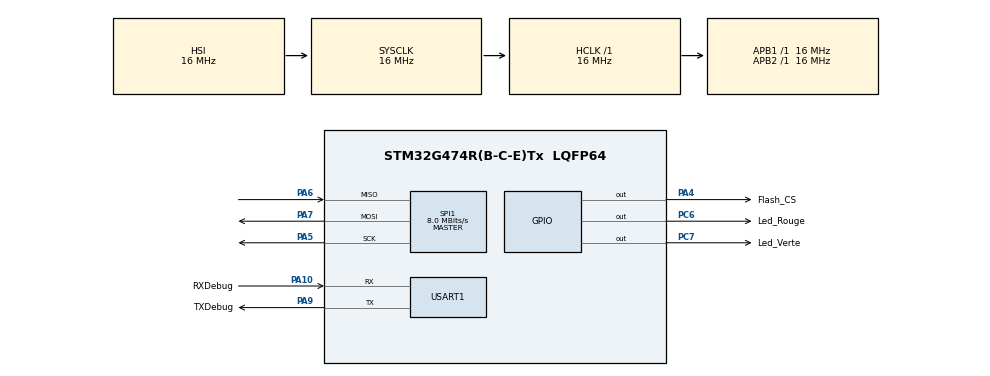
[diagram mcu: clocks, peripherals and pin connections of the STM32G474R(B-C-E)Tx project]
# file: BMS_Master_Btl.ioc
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CRC.InputDataInversionMode=CRC_INPUTDATA_INVERSION_BYTE
CRC.OutputDataInversionMode=CRC_OUTPUTDATA_INVERSION_ENABLE
Mcu.Family=STM32G4
Mcu.Name=STM32G474R(B-C-E)Tx
Mcu.Package=LQFP64
NVIC.PriorityGroup=NVIC_PRIORITYGROUP_4
PA10.GPIO_Label=RXDebug
PA10.Mode=Asynchronous
PA10.Signal=USART1_RX
PA13.Mode=Serial_Wire
PA13.Signal=SYS_JTMS-SWDIO
PA14.Mode=Serial_Wire
PA14.Signal=SYS_JTCK-SWCLK
PA4.GPIO_Label=Flash_CS
PA4.PinState=GPIO_PIN_SET
PA4.Signal=GPIO_Output
PA5.Mode=Full_Duplex_Master
PA5.Signal=SPI1_SCK
PA6.Mode=Full_Duplex_Master
PA6.Signal=SPI1_MISO
PA7.Mode=Full_Duplex_Master
PA7.Signal=SPI1_MOSI
PA9.GPIO_Label=TXDebug
PA9.Mode=Asynchronous
PA9.Signal=USART1_TX
PC6.GPIO_Label=Led_Rouge
PC6.Signal=GPIO_Output
PC7.GPIO_Label=Led_Verte
PC7.Signal=GPIO_Output
PF0-OSC_IN.Mode=HSE-External-Oscillator
PF0-OSC_IN.Signal=RCC_OSC_IN
PF1-OSC_OUT.Mode=HSE-External-Oscillator
PF1-OSC_OUT.Signal=RCC_OSC_OUT
ProjectManager.HeapSize=0x200
ProjectManager.StackSize=0x400
ProjectManager.TargetToolchain=STM32CubeIDE
RCC.ADC12Freq_Value=16000000
RCC.ADC345Freq_Value=16000000
RCC.AHBFreq_Value=16000000
RCC.APB1Freq_Value=16000000
RCC.APB1TimFreq_Value=16000000
RCC.APB2Freq_Value=16000000
RCC.APB2TimFreq_Value=16000000
RCC.CortexFreq_Value=16000000
RCC.EXTERNAL_CLOCK_VALUE=12288000
RCC.FDCANCLockSelection=RCC_FDCANCLKSOURCE_HSE
RCC.HCLKFreq_Value=16000000
RCC.HSE_VALUE=8000000
RCC.HSI48_VALUE=48000000
RCC.HSI_VALUE=16000000
RCC.LSE_VALUE=32768
RCC.PLLM=RCC_PLLM_DIV2
RCC.PLLN=85
RCC.PLLSourceVirtual=RCC_PLLSOURCE_HSE
RCC.SYSCLKFreq_VALUE=16000000
RCC.USBFreq_Value=170000000
RCC.VCOOutputFreq_Value=340000000
SPI1.BaudRatePrescaler=SPI_BAUDRATEPRESCALER_2
SPI1.CalculateBaudRate=8.0 MBits/s
SPI1.DataSize=SPI_DATASIZE_8BIT
SPI1.Direction=SPI_DIRECTION_2LINES
SPI1.Mode=SPI_MODE_MASTER
SPI1.VirtualType=VM_MASTER
USART1.VirtualMode-Asynchronous=VM_ASYNC
VP_CRC_VS_CRC.Mode=CRC_Activate
VP_SYS_VS_DBSignals.Mode=DisableDeadBatterySignals
board=custom

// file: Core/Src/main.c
/* USER CODE BEGIN Header */
/**
  ******************************************************************************
  * @file           : main.c
  * @brief          : Main program body
  ******************************************************************************
  * @attention
  *
  * Copyright (c) 2023 STMicroelectronics.
  * All rights reserved.
  *
  * This software is licensed under terms that can be found in the LICENSE file
  * in the root directory of this software component.
  * If no LICENSE file comes with this software, it is provided AS-IS.
  *
  ******************************************************************************
  */
/* USER CODE END Header */
#include "main.h"
#include "crc.h"
#include "spi.h"
#include "usart.h"
#include "gpio.h"

/* USER CODE BEGIN Includes */
#include "Flash/Flash.h"
#include "UpDate/UpDate.h"
/* USER CODE END Includes */

/* USER CODE BEGIN PD */

/* Verbose mode
 * 0: only important informations are displayed
 * 1: error details are displayed
 * 2: info details are displayed
 */
#define VERBOSE_MODE			1

#define FLASH_START_ADDRESS					      0x08000000			//! location of CPU flash bank.

#define ADDR_NewFirmwareBinary            (ADDR_NewFirmwareHeader + sizeof(UpDateFileHeader_t))

/* USER CODE END PD */

/* USER CODE BEGIN PV */

// main app start address defined in linker file
extern uint32_t _main_app_start_address;
extern uint32_t _firmware_length;

uint32_t u32_MemoryAddr = (uint32_t)&_main_app_start_address;
uint32_t u32_FirmwareSizeMax = (uint32_t)&_firmware_length;

uint32_t u32_BootLoader_Version = 0x00000001;

__attribute__((section(".btl_ram.BOOT_VERSION")))				volatile uint32_t u32_BootVersion;
__attribute__((section(".btl_ram.BOOT_MODE")))				  volatile uint32_t u32_BootMode;
__attribute__((section(".btl_ram.BOOT_HARDFAULT_PC")))	volatile uint32_t u32_HardFault_PC;
__attribute__((section(".btl_ram.BOOT_HARDFAULT_LR")))	volatile uint32_t u32_HardFault_LR;

uint32_t ADDR_NewFirmwareHeader = FlashAddrOfNewFirmware;
/* USER CODE END PV */

void SystemClock_Config(void);
/* USER CODE BEGIN PFP */

static uint32_t GetPage(uint32_t Address);
static uint32_t GetBank(uint32_t Address);
__STATIC_INLINE void config(void);

/* USER CODE END PFP */

/* USER CODE BEGIN 0 */

/**
* Jump to application
*/
void JumptoApp(void)
{
  // disable global interrupt
  __disable_irq();

  RCC->CICR = 0;

  // Disable all peripheral interrupts
  NVIC->ICER[0U] = 0xFFFFFFFF;

  SysTick->CTRL = 0;
  SysTick->LOAD = 0;
  SysTick->VAL = 0;

  // disable peripherals
  USART1->CR1 &= ~USART_CR1_UE;
  __HAL_RCC_USART1_CLK_DISABLE();

  SPI2->CR1 &= ~SPI_CR1_SPE;
  __HAL_RCC_SPI2_CLK_DISABLE();

  __HAL_RCC_APB1_FORCE_RESET();
  __HAL_RCC_APB1_RELEASE_RESET();

  __HAL_RCC_APB2_FORCE_RESET();
  __HAL_RCC_APB2_RELEASE_RESET();

  uint32_t* pMem = (uint32_t*)u32_MemoryAddr;

  // First address is the stack pointer initial value
  __set_MSP(*pMem); // Set stack pointer

                    // Now get main app entry point address
  pMem++;
  void(*pMainApp)(void) = (void(*)(void))(*pMem);

  // Jump to main application (0x0800 0004)
  pMainApp();
}

/**
  * @brief  Gets the page of a given address
  * @param  Addr: Address of the FLASH Memory
  * @retval The page of a given address
  */
static uint32_t GetPage(uint32_t Addr)
{
  uint32_t page = 0;

  if (Addr < (FLASH_BASE + FLASH_BANK_SIZE))
  {
    /* Bank 1 */
    page = (Addr - FLASH_BASE) / FLASH_PAGE_SIZE;
  }
  else
  {
    /* Bank 2 */
    page = (Addr - (FLASH_BASE + FLASH_BANK_SIZE)) / FLASH_PAGE_SIZE;
  }

  return page;
}

/**
  * @brief  Gets the bank of a given address
  * @param  Addr: Address of the FLASH Memory
  * @retval The bank of a given address
  */
static uint32_t GetBank(uint32_t Addr)
{
  if (Addr < (FLASH_BASE + FLASH_BANK_SIZE))
    return FLASH_BANK_1;
  else
    return FLASH_BANK_2;
}

/* USER CODE END 0 */

int main(void)
{
  /* USER CODE BEGIN 1 */

  uint32_t i;
  uint32_t u32_address;
  uint64_t u64_data;
  uint8_t au8_Data[4];

  uint32_t FirstPage = 0, NbOfPages = 0, BankNumber = 0;
  uint32_t PageError = 0;

  UpDateFileHeader_t oUpDateFileHeader = { 0 };

  /*Variable used for Erase procedure*/
  static FLASH_EraseInitTypeDef EraseInitStruct;

  // only to reserve data address
  __ASM __volatile__("" :: "m" (u32_BootVersion));
  __ASM __volatile__("" :: "m" (u32_BootMode));
  __ASM __volatile__("" :: "m" (u32_HardFault_PC));
  __ASM __volatile__("" :: "m" (u32_HardFault_LR));

  // update the version of local bootloader
  u32_BootVersion = u32_BootLoader_Version;

#if 0
  /* USER CODE END 1 */

  /* MCU Configuration--------------------------------------------------------*/

  /* Reset of all peripherals, Initializes the Flash interface and the Systick. */
  HAL_Init();

  /* Configure the system clock */
  SystemClock_Config();

  /* Initialize all configured peripherals */
  MX_GPIO_Init();
  MX_CRC_Init();
  MX_USART1_UART_Init();
  MX_SPI1_Init();
  /* USER CODE BEGIN 2 */
#endif

  config();
  gpio_init();
  crc_init();
  usart_init();
  spi_init();

  LED_R_ON;
  HAL_Delay(100);
  LED_R_OFF;
  LED_G_ON;
  HAL_Delay(100);
  LED_G_OFF;
  _UART1_print("BootLoader V");
  _UART1_print_hex32(u32_BootLoader_Version);
  _UART1_print("\r\n");
  /* USER CODE END 2 */

  /* Infinite loop */
  /* USER CODE BEGIN WHILE */
  while (1)
  {
    if (u32_BootMode == BOOT_MODE_UPDATE_TO_DO)
	  {
	    // Read Length and CheckSum from External Flash memory
      FlashRead(ADDR_NewFirmwareHeader, (uint8_t*)&oUpDateFileHeader, sizeof(UpDateFileHeader_t));

      // an update must be done
      if ((oUpDateFileHeader.u32_ValidityKey == UpDateFileValidityKey) &&
        ((oUpDateFileHeader.u32_BinaryFileSize != 0) && (oUpDateFileHeader.u32_BinaryFileSize != 0xFFFFFFFF)))
      {
        _UART1_print("Updating\r\n");
        // Si taille MAJ differente de 0 on fait la MAJ
        if (oUpDateFileHeader.u32_BinaryFileSize != 0)
        {
          if (oUpDateFileHeader.u32_BinaryFileSize < u32_FirmwareSizeMax)
          {
            // reset CRC calculation
            CRC->CR |= CRC_CR_RESET;
            for (i = ADDR_NewFirmwareBinary; i < (ADDR_NewFirmwareBinary + oUpDateFileHeader.u32_BinaryFileSize); i += 4)
            {
              FlashRead(i, (uint8_t*)&au8_Data, 4);
              CRC->DR = ((uint32_t)au8_Data[0] << 24U) | ((uint32_t)au8_Data[1U] << 16U) | ((uint32_t)au8_Data[2U] << 8U) | (uint32_t)au8_Data[3U];
            }
            uint32_t u32_Crc = (CRC->DR ^ 0xffffffffL);
            if (u32_Crc != oUpDateFileHeader.u32_BinaryFileCRC32)
            {
              LED_R_ON;
              u32_BootMode = BOOT_MODE_ERROR_CRC;
              _UART1_print("/!\\Bad CRC\r\n");
  #if (VERBOSE_MODE > 0)
              _UART1_print("Expect ");
              _UART1_print_hex32(oUpDateFileHeader.u32_BinaryFileCRC32);
              _UART1_print(" Compute ");
              _UART1_print_hex32(u32_Crc);
              _UART1_print("\r\n");
  #endif
            }
          }
          else
          {
            LED_R_ON;
            u32_BootMode = BOOT_MODE_ERROR_SIZE;
            _UART1_print("/!\\Firm size over\r\n");
          }
        }
        else
          u32_BootMode = BOOT_MODE_ERROR_NULL;

        if ((u32_BootMode & 0xFF000000) != BOOT_MODE_ERROR_NULL) // MAJ
        {
          // unlock CPU flash
          // HAL_FLASH_Unlock();
          if (READ_BIT(FLASH->CR, FLASH_CR_LOCK) != 0U)
          {
            /* Authorize the FLASH Registers access */
            WRITE_REG(FLASH->KEYR, FLASH_KEY1);
            WRITE_REG(FLASH->KEYR, FLASH_KEY2);

            /* verify Flash is unlocked */
            if (READ_BIT(FLASH->CR, FLASH_CR_LOCK) != 0U)
            {
              u32_BootMode = BOOT_MODE_ERROR_FLASH_LOCK;
              _UART1_print("/!\\Unlock Fail\r\n");
            }
          }

          if ((u32_BootMode & 0xFF000000) != BOOT_MODE_ERROR_NULL)
          {
            // Effacement de toute la memoire d'application
  #if (VERBOSE_MODE > 1)
            _UART1_print("Erase\r\n");
  #endif
            /* Clear OPTVERR bit set on virgin samples */
            __HAL_FLASH_CLEAR_FLAG(FLASH_FLAG_OPTVERR);

            /* Erase the user Flash area
              (area defined by FLASH_USER_START_ADDR and FLASH_USER_END_ADDR) ***********/

            // check if erase is only in first page or also on second page
            uint32_t u32_Size2Erase = FLASH_BANK_SIZE;

            /* Get the 1st page to erase */
            FirstPage = GetPage(u32_MemoryAddr);
            /* Get the number of pages to erase from 1st page */
            if ((u32_MemoryAddr + oUpDateFileHeader.u32_BinaryFileSize) >= FLASH_BANK_SIZE)
              u32_Size2Erase = FLASH_BANK_SIZE - (u32_MemoryAddr - FLASH_BASE) - 1;
            else
              u32_Size2Erase = oUpDateFileHeader.u32_BinaryFileSize;
            NbOfPages = GetPage((u32_MemoryAddr + u32_Size2Erase)) - FirstPage + 1;
            /* Get the bank */
            BankNumber = GetBank(u32_MemoryAddr);
            /* Fill EraseInit structure*/
            EraseInitStruct.TypeErase = FLASH_TYPEERASE_PAGES;
            EraseInitStruct.Banks = BankNumber;
            EraseInitStruct.Page = FirstPage;
            EraseInitStruct.NbPages = NbOfPages;
            if (HAL_FLASHEx_Erase(&EraseInitStruct, &PageError) != HAL_OK)
            {
              LED_R_ON;
              _UART1_print("/!\\Erase fail\r\n");
              u32_BootMode = BOOT_MODE_ERROR_BLANK;
            }
            else
            {
              // Need to erase an other block
              if ((u32_MemoryAddr + oUpDateFileHeader.u32_BinaryFileSize) >= FLASH_BANK_SIZE)
              {
                /* Get the 1st page to erase */
                FirstPage = GetPage((FLASH_BASE + FLASH_BANK_SIZE));
                /* Get the number of pages to erase from 1st page */
                NbOfPages = GetPage((u32_MemoryAddr + oUpDateFileHeader.u32_BinaryFileSize)) - FirstPage + 1;
                /* Get the bank */
                BankNumber = FLASH_BANK_2;
                /* Fill EraseInit structure*/
                EraseInitStruct.TypeErase = FLASH_TYPEERASE_PAGES;
                EraseInitStruct.Banks = BankNumber;
                EraseInitStruct.Page = FirstPage;
                EraseInitStruct.NbPages = NbOfPages;
                if (HAL_FLASHEx_Erase(&EraseInitStruct, &PageError) != HAL_OK)
                {
                  LED_R_ON;
                  _UART1_print("/!\\Erase fail\r\n");
                  u32_BootMode = BOOT_MODE_ERROR_BLANK;
                }
              }

              if ((u32_BootMode & 0xFF000000) != BOOT_MODE_ERROR_NULL)
              {
                // verification effacement
  #if (VERBOSE_MODE > 1)
  //					_UART1_print("Blank check\r\n");
  #endif
                for (u32_address = u32_MemoryAddr; u32_address <= (u32_MemoryAddr + oUpDateFileHeader.u32_BinaryFileSize); u32_address++)
                {
                  if (*(uint8_t*)u32_address != 0xFF)
                  {
                    LED_R_ON;
                    _UART1_print("/!\\Blank fail\r\n");
  #if (VERBOSE_MODE > 0)
                    _UART1_print("At @");
                    _UART1_print_hex32(u32_address);
                    _UART1_print("\r\n");
  #endif
                    u32_BootMode = BOOT_MODE_ERROR_BLANK;
                    break;
                  }
                }
              }

              if ((u32_BootMode & 0xFF000000) != BOOT_MODE_ERROR_NULL)
              {
                _UART1_print("Write & verify\r\n");
                for (u32_address = 0; u32_address < oUpDateFileHeader.u32_BinaryFileSize; u32_address += 8)
                {
                  FlashRead((ADDR_NewFirmwareBinary + u32_address), (uint8_t*)&u64_data, 8);
                  // programmation
                  HAL_FLASH_Program(FLASH_TYPEPROGRAM_DOUBLEWORD, (u32_MemoryAddr + u32_address), u64_data);
                  // verification
                  if (*(uint64_t*)(u32_MemoryAddr + u32_address) != u64_data)
                  {
                    LED_R_ON;
                    u32_BootMode = BOOT_MODE_ERROR_VERIFY;
                    _UART1_print("/!\\Verif fail\r\n");
  #if (VERBOSE_MODE > 0)
                    _UART1_print("@");
                    _UART1_print_hex32((uint32_t)(u32_MemoryAddr + u32_address));
                    _UART1_print(" => ");	// Expected
                    _UART1_print_hex32((u64_data & 0xFFFFFFFF00000000) >> 32);
                    _UART1_print_hex32(u64_data & 0x00000000FFFFFFFF);
                    _UART1_print(" | ");	// Read
                    _UART1_print_hex32((*(uint64_t*)(u32_MemoryAddr + u32_address) & 0xFFFFFFFF00000000) >> 32);
                    _UART1_print_hex32((*(uint64_t*)(u32_MemoryAddr + u32_address) & 0x00000000FFFFFFFF));
                    _UART1_print("\r\n");
  #endif
                    break;
                  }
                }

                if ((u32_BootMode & 0xFF000000) != BOOT_MODE_ERROR_NULL)
                  u32_BootMode = 0;
              }
            }

            // Lock flash
            /* Set the LOCK Bit to lock the FLASH Registers access */
            SET_BIT(FLASH->CR, FLASH_CR_LOCK);
          }
        }
      }
	  }

    if ((u32_BootMode & 0xFF000000) != BOOT_MODE_ERROR_NULL)
      LED_R_OFF;
    _UART1_print("Start App\r\n");
    HAL_Delay(100);
    u32_BootVersion = u32_BootLoader_Version;
    JumptoApp();

    /* USER CODE END WHILE */

  }
}

void SystemClock_Config(void)
{
  RCC_OscInitTypeDef RCC_OscInitStruct = {0};
  RCC_ClkInitTypeDef RCC_ClkInitStruct = {0};

  /** Configure the main internal regulator output voltage
  */
  HAL_PWREx_ControlVoltageScaling(PWR_REGULATOR_VOLTAGE_SCALE1);

  /** Initializes the RCC Oscillators according to the specified parameters
  * in the RCC_OscInitTypeDef structure.
  */
  RCC_OscInitStruct.OscillatorType = RCC_OSCILLATORTYPE_HSI;
  RCC_OscInitStruct.HSIState = RCC_HSI_ON;
  RCC_OscInitStruct.HSICalibrationValue = RCC_HSICALIBRATION_DEFAULT;
  RCC_OscInitStruct.PLL.PLLState = RCC_PLL_NONE;
  if (HAL_RCC_OscConfig(&RCC_OscInitStruct) != HAL_OK)
  {
    Error_Handler();
  }

  /** Initializes the CPU, AHB and APB buses clocks
  */
  RCC_ClkInitStruct.ClockType = RCC_CLOCKTYPE_HCLK|RCC_CLOCKTYPE_SYSCLK
                              |RCC_CLOCKTYPE_PCLK1|RCC_CLOCKTYPE_PCLK2;
  RCC_ClkInitStruct.SYSCLKSource = RCC_SYSCLKSOURCE_HSI;
  RCC_ClkInitStruct.AHBCLKDivider = RCC_SYSCLK_DIV1;
  RCC_ClkInitStruct.APB1CLKDivider = RCC_HCLK_DIV1;
  RCC_ClkInitStruct.APB2CLKDivider = RCC_HCLK_DIV1;

  if (HAL_RCC_ClockConfig(&RCC_ClkInitStruct, FLASH_LATENCY_0) != HAL_OK)
  {
    Error_Handler();
  }
}

/* USER CODE BEGIN 4 */
void config(void)
{
  uint32_t prioritygroup;
  uint32_t wait_loop_index;
  uint32_t tickstart;
  uint32_t temp_sysclksrc;
  uint32_t temp_pllckcfg;
  uint32_t pllfreq;
  uint32_t hpre = RCC_SYSCLK_DIV1;

  /* Reset of all peripherals, Initializes the Flash interface and the Systick. */
  /* Set Interrupt Group Priority */
    /* Set the PRIGROUP[10:8] bits according to the PriorityGroup parameter value */
  NVIC_SetPriorityGrouping(NVIC_PRIORITYGROUP_4);

  /* Use SysTick as time base source and configure 1ms tick (default clock after Reset is HSI) */
  /* Configure the SysTick to have interrupt in 1ms time basis*/
  if (SysTick_Config(SystemCoreClock / (1000U / uwTickFreq)) == 0U)
  {
    /* Configure the SysTick IRQ priority */
    prioritygroup = NVIC_GetPriorityGrouping();
    NVIC_SetPriority(SysTick_IRQn, NVIC_EncodePriority(prioritygroup, TICK_INT_PRIORITY, 0U));
    uwTickPrio = TICK_INT_PRIORITY;
  }
  else
  {
    return;
  }

  /* Init the low level hardware */
  __HAL_RCC_SYSCFG_CLK_ENABLE();
  __HAL_RCC_PWR_CLK_ENABLE();

  /* System interrupt init*/
  /** Disable the internal Pull-Up in Dead Battery pins of UCPD peripheral
  */
  /* Write 1 to disable the USB Type-C dead battery pull-down behavior */
  SET_BIT(PWR->CR3, PWR_CR3_UCPD_DBDIS);

  /* Configure the system clock */
  /** Configure the main internal regulator output voltage
  */
    /* If current range is range 2 */
  if (READ_BIT(PWR->CR1, PWR_CR1_VOS) == PWR_REGULATOR_VOLTAGE_SCALE2)
  {
    /* Make sure Range 1 Boost is disabled */
    SET_BIT(PWR->CR5, PWR_CR5_R1MODE);

    /* Set Range 1 */
    MODIFY_REG(PWR->CR1, PWR_CR1_VOS, PWR_REGULATOR_VOLTAGE_SCALE1);

    /* Wait until VOSF is cleared */
    wait_loop_index = ((50UL * SystemCoreClock) / 1000000U) + 1U;
    while ((HAL_IS_BIT_SET(PWR->SR2, PWR_SR2_VOSF)) && (wait_loop_index != 0U))
    {
      wait_loop_index--;
    }
    if (HAL_IS_BIT_SET(PWR->SR2, PWR_SR2_VOSF))
    {
      return;
    }
  }
  /* If current range is range 1 normal or boost mode */
  else
  {
    /* Disable Range 1 Boost (no issue if bit already set) */
    SET_BIT(PWR->CR5, PWR_CR5_R1MODE);
  }

  /** Initializes the RCC Oscillators according to the specified parameters
  * in the RCC_OscInitTypeDef structure.
  */
  /*----------------------------- HSI Configuration --------------------------*/
  /* Check if HSI is used as system clock or as PLL source when PLL is selected as system clock */
  temp_sysclksrc = __HAL_RCC_GET_SYSCLK_SOURCE();
  temp_pllckcfg = __HAL_RCC_GET_PLL_OSCSOURCE();
  if (((temp_sysclksrc == RCC_CFGR_SWS_PLL) && (temp_pllckcfg == RCC_PLLSOURCE_HSI)) || (temp_sysclksrc == RCC_CFGR_SWS_HSI))
  {
    /* When HSI is used as system clock it will not be disabled */
    /* Otherwise, just the calibration is allowed */
    {
      /* Adjusts the Internal High Speed oscillator (HSI) calibration value.*/
      __HAL_RCC_HSI_CALIBRATIONVALUE_ADJUST(RCC_HSICALIBRATION_DEFAULT);

      /* Adapt Systick interrupt period */
      /* Configure the SysTick to have interrupt in 1ms time basis*/
      if (SysTick_Config(SystemCoreClock / (1000U / uwTickFreq)) == 0U)
      {
        /* Configure the SysTick IRQ priority */
        prioritygroup = NVIC_GetPriorityGrouping();
        NVIC_SetPriority(SysTick_IRQn, NVIC_EncodePriority(prioritygroup, uwTickPrio, 0U));
        uwTickPrio = uwTickPrio;
      }
      else
      {
        return;
      }
    }
  }
  else
  {
    /* Enable the Internal High Speed oscillator (HSI). */
    __HAL_RCC_HSI_ENABLE();

    /* Get Start Tick*/
    tickstart = HAL_GetTick();

    /* Wait till HSI is ready */
    while (READ_BIT(RCC->CR, RCC_CR_HSIRDY) == 0U)
    {
      if ((HAL_GetTick() - tickstart) > 2U)
      {
        return;
      }
    }

    /* Adjusts the Internal High Speed oscillator (HSI) calibration value.*/
    __HAL_RCC_HSI_CALIBRATIONVALUE_ADJUST(RCC_HSICALIBRATION_DEFAULT);
  }

  /** Initializes the CPU, AHB and APB buses clocks
  */
  /* To correctly read data from FLASH memory, the number of wait states (LATENCY)
    must be correctly programmed according to the frequency of the CPU clock
    (HCLK) and the supply voltage of the device. */

  /* Increasing the number of wait states because of higher CPU frequency */
  if (FLASH_LATENCY_0 > __HAL_FLASH_GET_LATENCY())
  {
    /* Program the new number of wait states to the LATENCY bits in the FLASH_ACR register */
    __HAL_FLASH_SET_LATENCY(FLASH_LATENCY_0);

    /* Check that the new number of wait states is taken into account to access the Flash
    memory by reading the FLASH_ACR register */
    if (__HAL_FLASH_GET_LATENCY() != FLASH_LATENCY_0)
    {
      return;
    }
  }

  /*------------------------- SYSCLK Configuration ---------------------------*/
  /* HSI is selected as System Clock Source */
  /* Check the HSI ready flag */
  if (READ_BIT(RCC->CR, RCC_CR_HSIRDY) == 0U)
  {
    return;
  }
  /* Overshoot management when going down from PLL as SYSCLK source and frequency above 80Mhz */
  pllfreq = HAL_RCC_GetSysClockFreq();

  /* Intermediate step with HCLK prescaler 2 necessary before to go under 80Mhz */
  if (pllfreq > 80000000U)
  {
    MODIFY_REG(RCC->CFGR, RCC_CFGR_HPRE, RCC_SYSCLK_DIV2);
    hpre = RCC_SYSCLK_DIV2;
  }

  MODIFY_REG(RCC->CFGR, RCC_CFGR_SW, RCC_SYSCLKSOURCE_HSI);

  /* Get Start Tick*/
  tickstart = HAL_GetTick();

  while (__HAL_RCC_GET_SYSCLK_SOURCE() != (RCC_SYSCLKSOURCE_HSI << RCC_CFGR_SWS_Pos))
  {
    if ((HAL_GetTick() - tickstart) > 5000U)
    {
      return;
    }
  }

  /*-------------------------- HCLK Configuration --------------------------*/
  /* Set the highest APB divider in order to ensure that we do not go through
    a non-spec phase whatever we decrease or increase HCLK. */
  MODIFY_REG(RCC->CFGR, RCC_CFGR_PPRE1, RCC_HCLK_DIV16);
  MODIFY_REG(RCC->CFGR, RCC_CFGR_PPRE2, RCC_HCLK_DIV16);

  /* Set the new HCLK clock divider */
  MODIFY_REG(RCC->CFGR, RCC_CFGR_HPRE, RCC_SYSCLK_DIV1);

  /* Decreasing the number of wait states because of lower CPU frequency */
  if (FLASH_LATENCY_0 < __HAL_FLASH_GET_LATENCY())
  {
    /* Program the new number of wait states to the LATENCY bits in the FLASH_ACR register */
    __HAL_FLASH_SET_LATENCY(FLASH_LATENCY_0);

    /* Check that the new number of wait states is taken into account to access the Flash
    memory by polling the FLASH_ACR register */
    tickstart = HAL_GetTick();

    while (__HAL_FLASH_GET_LATENCY() != FLASH_LATENCY_0)
    {
      if ((HAL_GetTick() - tickstart) > 5000U)
      {
        return;
      }
    }
  }

  /*-------------------------- PCLK1 Configuration ---------------------------*/
  MODIFY_REG(RCC->CFGR, RCC_CFGR_PPRE1, RCC_HCLK_DIV1);

  /*-------------------------- PCLK2 Configuration ---------------------------*/
  MODIFY_REG(RCC->CFGR, RCC_CFGR_PPRE2, (RCC_HCLK_DIV1 << 3U));

  /* Update the SystemCoreClock global variable */
  SystemCoreClock = HAL_RCC_GetSysClockFreq() >> (AHBPrescTable[READ_BIT(RCC->CFGR, RCC_CFGR_HPRE) >> RCC_CFGR_HPRE_Pos] & 0x1FU);

  /* Configure the source of time base considering new system clocks settings*/
  /* Configure the SysTick to have interrupt in 1ms time basis*/
  if (SysTick_Config(SystemCoreClock / (1000U / uwTickFreq)) == 0U)
  {
    /* Configure the SysTick IRQ priority */
    prioritygroup = NVIC_GetPriorityGrouping();
    NVIC_SetPriority(SysTick_IRQn, NVIC_EncodePriority(prioritygroup, uwTickPrio, 0U));
    uwTickPrio = uwTickPrio;
  }
  else
  {
    return;
  }
}
/* USER CODE END 4 */

void Error_Handler(void)
{
  __disable_irq();
  while (1)
  {
  }
}
